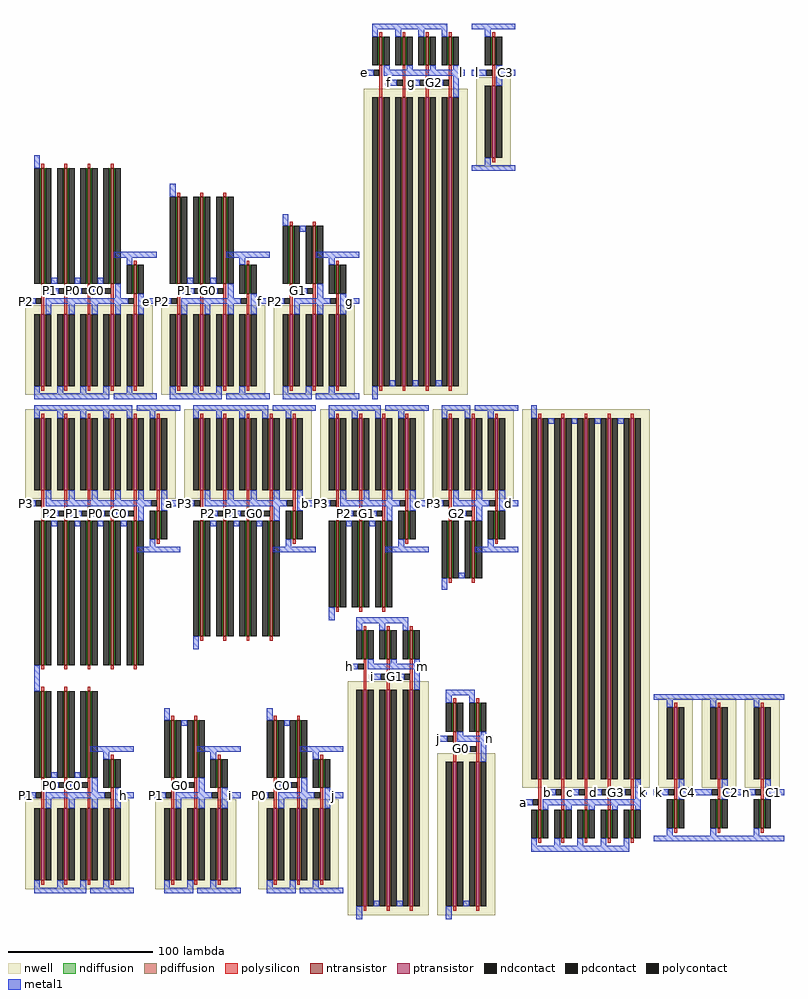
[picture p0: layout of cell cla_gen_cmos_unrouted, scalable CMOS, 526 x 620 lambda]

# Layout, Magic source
magic
tech scmos
<< metal1 >>
rect 233 416 237 420
rect 300 416 304 420
rect 311 416 315 420
rect 330 416 334 420
rect 249 409 253 413
rect 265 409 269 413
rect 281 409 285 413
rect 15 265 19 269
rect 31 265 35 269
rect 47 265 51 269
rect 109 265 113 269
rect 125 265 129 269
rect 187 265 191 269
rect -1 258 3 262
rect 66 258 67 262
rect 82 258 86 262
rect 93 258 97 262
rect 144 258 145 262
rect 160 258 164 262
rect 171 258 175 262
rect 206 258 207 262
rect 222 258 226 262
rect -1 118 3 122
rect 82 118 83 122
rect 98 118 102 122
rect 109 118 113 122
rect 176 118 177 122
rect 192 118 196 122
rect 203 118 207 122
rect 254 118 255 122
rect 270 118 274 122
rect 281 118 285 122
rect 316 118 317 122
rect 332 118 336 122
rect 15 111 19 115
rect 31 111 35 115
rect 47 111 51 115
rect 63 111 67 115
rect 125 111 129 115
rect 141 111 145 115
rect 157 111 161 115
rect 219 111 223 115
rect 235 111 239 115
rect 297 111 301 115
rect 222 5 226 9
rect 273 5 277 9
rect 238 -2 242 2
rect 254 -2 258 2
rect 284 -45 288 -41
rect 319 -45 323 -41
rect 300 -52 304 -48
rect 15 -77 19 -73
rect 31 -77 35 -73
rect 105 -77 109 -73
rect 176 -77 180 -73
rect -1 -84 3 -80
rect 50 -84 51 -80
rect 66 -84 70 -80
rect 89 -84 93 -80
rect 124 -84 125 -80
rect 140 -84 144 -80
rect 160 -84 164 -80
rect 195 -84 196 -80
rect 211 -84 215 -80
rect 359 -82 363 -78
rect 375 -82 379 -78
rect 391 -82 395 -78
rect 407 -82 411 -78
rect 426 -82 430 -78
rect 437 -82 441 -78
rect 456 -82 460 -78
rect 467 -82 471 -78
rect 486 -82 490 -78
rect 497 -82 501 -78
rect 516 -82 520 -78
rect 343 -89 347 -85
use inv_cmos  inv_cmos_7 ../../../inv/cmos/post_layout
transform 1 0 48 0 -1 -85
box 0 -37 24 65
use nand_3_cmos  nand_3_cmos_2 ../../../nand/cmos/post_layout
transform 1 0 6 0 -1 -91
box -6 -90 50 59
use nand_5_cmos  nand_5_cmos_0 ../../../nand/cmos/post_layout
transform 1 0 6 0 1 129
box -6 -130 82 59
use inv_cmos  inv_cmos_0
transform 1 0 80 0 1 123
box 0 -37 24 65
use inv_cmos  inv_cmos_8
transform 1 0 122 0 -1 -85
box 0 -37 24 65
use nand_cmos  nand_cmos_2 ../../../nand/cmos/post_layout
transform 1 0 96 0 -1 -91
box -6 -69 34 59
use nand_cmos  nand_cmos_3
transform 1 0 167 0 -1 -91
box -6 -69 34 59
use nand_4_cmos  nand_4_cmos_0 ../../../nand/cmos/post_layout
transform 1 0 116 0 1 129
box -6 -110 66 59
use inv_cmos  inv_cmos_1
transform 1 0 174 0 1 123
box 0 -37 24 65
use nor_3_cmos  nor_3_cmos_0 ../../../nor/cmos/post_layout
transform 1 0 229 0 -1 -9
box -6 -50 50 159
use inv_cmos  inv_cmos_9
transform 1 0 193 0 -1 -85
box 0 -37 24 65
use nand_3_cmos  nand_3_cmos_0
transform 1 0 210 0 1 129
box -6 -90 50 59
use inv_cmos  inv_cmos_2
transform 1 0 252 0 1 123
box 0 -37 24 65
use nor_cmos  nor_cmos_0 ../../../nor/cmos/post_layout
transform 1 0 291 0 -1 -59
box -6 -50 34 109
use nor_5_cmos  nor_5_cmos_0 ../../../nor/cmos/post_layout
transform 1 0 350 0 1 -71
box -6 -50 82 259
use inv_cmos  inv_cmos_3
transform 1 0 314 0 1 123
box 0 -37 24 65
use nand_cmos  nand_cmos_0
transform 1 0 288 0 1 129
box -6 -69 34 59
use inv_cmos  inv_cmos_10
transform 1 0 438 0 1 -77
box 0 -37 24 65
use inv_cmos  inv_cmos_13
transform 1 0 498 0 1 -77
box 0 -37 24 65
use inv_cmos  inv_cmos_12
transform 1 0 468 0 1 -77
box 0 -37 24 65
use inv_cmos  inv_cmos_4
transform 1 0 64 0 -1 257
box 0 -37 24 65
use nand_4_cmos  nand_4_cmos_1
transform 1 0 6 0 -1 251
box -6 -110 66 59
use nand_3_cmos  nand_3_cmos_1
transform 1 0 100 0 -1 251
box -6 -90 50 59
use nand_cmos  nand_cmos_1
transform 1 0 178 0 -1 251
box -6 -69 34 59
use inv_cmos  inv_cmos_5
transform 1 0 142 0 -1 257
box 0 -37 24 65
use inv_cmos  inv_cmos_6
transform 1 0 204 0 -1 257
box 0 -37 24 65
use nor_4_cmos  nor_4_cmos_0 ../../../nor/cmos/post_layout
transform 1 0 240 0 -1 401
box -6 -51 66 209
use inv_cmos  inv_cmos_11
transform 1 0 312 0 -1 415
box 0 -37 24 65
<< labels >>
rlabel metal1 -1 118 3 122 3 P3
rlabel metal1 15 111 19 115 1 P2
rlabel metal1 31 111 35 115 1 P1
rlabel metal1 47 111 51 115 1 P0
rlabel metal1 63 111 67 115 1 C0
rlabel metal1 98 118 102 122 1 a
rlabel metal1 109 118 113 122 1 P3
rlabel metal1 125 111 129 115 1 P2
rlabel metal1 141 111 145 115 1 P1
rlabel metal1 157 111 161 115 1 G0
rlabel metal1 192 118 196 122 1 b
rlabel metal1 203 118 207 122 1 P3
rlabel metal1 219 111 223 115 1 P2
rlabel metal1 235 111 239 115 1 G1
rlabel metal1 270 118 274 122 1 c
rlabel metal1 332 118 336 122 1 d
rlabel metal1 281 118 285 122 1 P3
rlabel metal1 -1 258 3 262 3 P2
rlabel metal1 15 265 19 269 1 P1
rlabel metal1 31 265 35 269 1 P0
rlabel metal1 47 265 51 269 1 C0
rlabel metal1 82 258 86 262 1 e
rlabel metal1 93 258 97 262 1 P2
rlabel metal1 109 265 113 269 1 P1
rlabel metal1 125 265 129 269 1 G0
rlabel metal1 160 258 164 262 1 f
rlabel metal1 222 258 226 262 1 g
rlabel metal1 171 258 175 262 1 P2
rlabel metal1 187 265 191 269 1 G1
rlabel metal1 66 -84 70 -80 1 h
rlabel metal1 -1 -84 3 -80 3 P1
rlabel metal1 15 -77 19 -73 1 P0
rlabel metal1 31 -77 35 -73 1 C0
rlabel metal1 89 -84 93 -80 1 P1
rlabel metal1 105 -77 109 -73 1 G0
rlabel metal1 160 -84 164 -80 1 P0
rlabel metal1 176 -77 180 -73 1 C0
rlabel metal1 140 -84 144 -80 1 i
rlabel metal1 211 -84 215 -80 1 j
rlabel metal1 233 416 237 420 1 e
rlabel metal1 249 409 253 413 1 f
rlabel metal1 265 409 269 413 1 g
rlabel metal1 281 409 285 413 1 G2
rlabel metal1 300 416 304 420 1 l
rlabel metal1 330 416 334 420 1 C3
rlabel metal1 343 -89 347 -85 1 a
rlabel metal1 359 -82 363 -78 1 b
rlabel metal1 375 -82 379 -78 1 c
rlabel metal1 391 -82 395 -78 1 d
rlabel metal1 407 -82 411 -78 1 G3
rlabel metal1 426 -82 430 -78 1 k
rlabel metal1 437 -82 441 -78 1 k
rlabel metal1 456 -82 460 -78 1 C4
rlabel metal1 222 5 226 9 1 h
rlabel metal1 238 -2 242 2 1 i
rlabel metal1 254 -2 258 2 1 G1
rlabel metal1 300 -52 304 -48 1 G0
rlabel metal1 284 -45 288 -41 1 j
rlabel metal1 319 -45 323 -41 1 n
rlabel metal1 273 5 277 9 1 m
rlabel metal1 467 -82 471 -78 1 m
rlabel metal1 486 -82 490 -78 1 C2
rlabel metal1 516 -82 520 -78 7 C1
rlabel metal1 497 -82 501 -78 1 n
rlabel metal1 311 416 315 420 1 l
rlabel metal1 297 111 301 115 1 G2
<< end >>

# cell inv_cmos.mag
magic
tech scmos
<< nwell >>
rect 0 0 24 62
<< ntransistor >>
rect 11 -28 13 -8
<< ptransistor >>
rect 11 6 13 56
<< ndiffusion >>
rect 10 -28 11 -8
rect 13 -28 14 -8
<< pdiffusion >>
rect 10 6 11 56
rect 13 6 14 56
<< ndcontact >>
rect 6 -28 10 -8
rect 14 -28 18 -8
<< pdcontact >>
rect 6 6 10 56
rect 14 6 18 56
<< polysilicon >>
rect 11 56 13 59
rect 11 -8 13 6
rect 11 -31 13 -28
<< polycontact >>
rect 7 -5 11 -1
<< metal1 >>
rect -3 61 27 65
rect 6 56 10 61
rect 14 -1 18 6
rect -3 -5 7 -1
rect 14 -5 27 -1
rect 14 -8 18 -5
rect 6 -33 10 -28
rect -3 -37 27 -33
<< labels >>
rlabel metal1 10 64 11 65 5 vdd
rlabel metal1 12 -36 13 -35 1 gnd
rlabel metal1 25 -4 26 -3 7 OUT
rlabel metal1 0 -3 1 -2 3 IN
<< end >>

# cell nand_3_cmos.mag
magic
tech scmos
<< nwell >>
rect -6 -6 50 56
<< ntransistor >>
rect 5 -81 7 -21
rect 21 -81 23 -21
rect 37 -81 39 -21
<< ptransistor >>
rect 5 0 7 50
rect 21 0 23 50
rect 37 0 39 50
<< ndiffusion >>
rect 4 -81 5 -21
rect 7 -81 8 -21
rect 20 -81 21 -21
rect 23 -81 24 -21
rect 36 -81 37 -21
rect 39 -81 40 -21
<< pdiffusion >>
rect 4 0 5 50
rect 7 0 8 50
rect 20 0 21 50
rect 23 0 24 50
rect 36 0 37 50
rect 39 0 40 50
<< ndcontact >>
rect 0 -81 4 -21
rect 8 -81 12 -21
rect 16 -81 20 -21
rect 24 -81 28 -21
rect 32 -81 36 -21
rect 40 -81 44 -21
<< pdcontact >>
rect 0 0 4 50
rect 8 0 12 50
rect 16 0 20 50
rect 24 0 28 50
rect 32 0 36 50
rect 40 0 44 50
<< polysilicon >>
rect 5 50 7 53
rect 21 50 23 53
rect 37 50 39 53
rect 5 -21 7 0
rect 21 -21 23 0
rect 37 -21 39 0
rect 5 -84 7 -81
rect 21 -84 23 -81
rect 37 -84 39 -81
<< polycontact >>
rect 1 -11 5 -7
rect 17 -18 21 -14
rect 33 -18 37 -14
<< metal1 >>
rect 0 55 36 59
rect 0 50 4 55
rect 16 50 20 55
rect 32 50 36 55
rect 8 -7 12 0
rect 24 -7 28 0
rect 40 -7 44 0
rect -3 -11 1 -7
rect 8 -11 44 -7
rect 13 -18 17 -14
rect 29 -18 33 -14
rect 40 -21 44 -11
rect 12 -25 16 -21
rect 28 -25 32 -21
rect 0 -90 4 -81
<< labels >>
rlabel metal1 10 55 14 59 5 vdd
rlabel metal1 -3 -11 1 -7 1 A
rlabel metal1 13 -18 17 -14 1 B
rlabel metal1 29 -18 33 -14 1 C
rlabel metal1 40 -11 44 -7 1 Y
rlabel metal1 0 -90 4 -86 1 gnd
<< end >>

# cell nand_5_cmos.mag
magic
tech scmos
<< nwell >>
rect -6 -6 82 56
<< ntransistor >>
rect 5 -121 7 -21
rect 21 -121 23 -21
rect 37 -121 39 -21
rect 53 -121 55 -21
rect 69 -121 71 -21
<< ptransistor >>
rect 5 0 7 50
rect 21 0 23 50
rect 37 0 39 50
rect 53 0 55 50
rect 69 0 71 50
<< ndiffusion >>
rect 4 -121 5 -21
rect 7 -121 8 -21
rect 20 -121 21 -21
rect 23 -121 24 -21
rect 36 -121 37 -21
rect 39 -121 40 -21
rect 52 -121 53 -21
rect 55 -121 56 -21
rect 68 -121 69 -21
rect 71 -121 72 -21
<< pdiffusion >>
rect 4 0 5 50
rect 7 0 8 50
rect 20 0 21 50
rect 23 0 24 50
rect 36 0 37 50
rect 39 0 40 50
rect 52 0 53 50
rect 55 0 56 50
rect 68 0 69 50
rect 71 0 72 50
<< ndcontact >>
rect 0 -121 4 -21
rect 8 -121 12 -21
rect 16 -121 20 -21
rect 24 -121 28 -21
rect 32 -121 36 -21
rect 40 -121 44 -21
rect 48 -121 52 -21
rect 56 -121 60 -21
rect 64 -121 68 -21
rect 72 -121 76 -21
<< pdcontact >>
rect 0 0 4 50
rect 8 0 12 50
rect 16 0 20 50
rect 24 0 28 50
rect 32 0 36 50
rect 40 0 44 50
rect 48 0 52 50
rect 56 0 60 50
rect 64 0 68 50
rect 72 0 76 50
<< polysilicon >>
rect 5 50 7 53
rect 21 50 23 53
rect 37 50 39 53
rect 53 50 55 53
rect 69 50 71 53
rect 5 -21 7 0
rect 21 -21 23 0
rect 37 -21 39 0
rect 53 -21 55 0
rect 69 -21 71 0
rect 5 -124 7 -121
rect 21 -124 23 -121
rect 37 -124 39 -121
rect 53 -124 55 -121
rect 69 -124 71 -121
<< polycontact >>
rect 1 -11 5 -7
rect 17 -18 21 -14
rect 33 -18 37 -14
rect 49 -18 53 -14
rect 65 -18 69 -14
<< metal1 >>
rect 0 55 68 59
rect 0 50 4 55
rect 16 50 20 55
rect 32 50 36 55
rect 48 50 52 55
rect 64 50 68 55
rect 8 -7 12 0
rect 24 -7 28 0
rect 40 -7 44 0
rect 56 -7 60 0
rect 72 -7 76 0
rect -3 -11 1 -7
rect 8 -11 76 -7
rect 13 -18 17 -14
rect 29 -18 33 -14
rect 45 -18 49 -14
rect 61 -18 65 -14
rect 72 -21 76 -11
rect 12 -25 16 -21
rect 28 -25 32 -21
rect 44 -25 48 -21
rect 60 -25 64 -21
rect 0 -130 4 -121
<< labels >>
rlabel metal1 10 55 14 59 5 vdd
rlabel metal1 -3 -11 1 -7 1 A
rlabel metal1 61 -18 65 -14 1 E
rlabel metal1 45 -18 49 -14 1 D
rlabel metal1 13 -18 17 -14 1 B
rlabel metal1 29 -18 33 -14 1 C
rlabel metal1 72 -11 76 -7 1 Y
rlabel metal1 0 -130 4 -126 1 gnd
<< end >>

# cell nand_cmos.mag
magic
tech scmos
<< nwell >>
rect -6 -6 35 56
<< ntransistor >>
rect 5 -61 7 -21
rect 21 -61 23 -21
<< ptransistor >>
rect 5 0 7 50
rect 21 0 23 50
<< ndiffusion >>
rect 4 -61 5 -21
rect 7 -61 8 -21
rect 20 -61 21 -21
rect 23 -61 24 -21
<< pdiffusion >>
rect 4 0 5 50
rect 7 0 8 50
rect 20 0 21 50
rect 23 0 24 50
<< ndcontact >>
rect 0 -61 4 -21
rect 8 -61 12 -21
rect 16 -61 20 -21
rect 24 -61 28 -21
<< pdcontact >>
rect 0 0 4 50
rect 8 0 12 50
rect 16 0 20 50
rect 24 0 28 50
<< polysilicon >>
rect 5 50 7 53
rect 21 50 23 53
rect 5 -21 7 0
rect 21 -21 23 0
rect 5 -64 7 -61
rect 21 -64 23 -61
<< polycontact >>
rect 1 -11 5 -7
rect 17 -18 21 -14
<< metal1 >>
rect 0 55 20 59
rect 0 50 4 55
rect 16 50 20 55
rect 8 -7 12 0
rect 24 -7 28 0
rect -3 -11 1 -7
rect 8 -11 28 -7
rect 13 -18 17 -14
rect 24 -21 28 -11
rect 12 -61 16 -57
rect 0 -69 4 -61
<< labels >>
rlabel metal1 10 55 14 59 5 vdd
rlabel metal1 -3 -11 1 -7 1 A
rlabel metal1 0 -69 4 -65 1 gnd
rlabel metal1 24 -11 28 -7 1 Y
rlabel metal1 13 -18 17 -14 1 B
<< end >>

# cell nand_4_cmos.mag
magic
tech scmos
<< nwell >>
rect -6 -6 66 56
<< ntransistor >>
rect 5 -101 7 -21
rect 21 -101 23 -21
rect 37 -101 39 -21
rect 53 -101 55 -21
<< ptransistor >>
rect 5 0 7 50
rect 21 0 23 50
rect 37 0 39 50
rect 53 0 55 50
<< ndiffusion >>
rect 4 -101 5 -21
rect 7 -101 8 -21
rect 20 -101 21 -21
rect 23 -101 24 -21
rect 36 -101 37 -21
rect 39 -101 40 -21
rect 52 -101 53 -21
rect 55 -101 56 -21
<< pdiffusion >>
rect 4 0 5 50
rect 7 0 8 50
rect 20 0 21 50
rect 23 0 24 50
rect 36 0 37 50
rect 39 0 40 50
rect 52 0 53 50
rect 55 0 56 50
<< ndcontact >>
rect 0 -101 4 -21
rect 8 -101 12 -21
rect 16 -101 20 -21
rect 24 -101 28 -21
rect 32 -101 36 -21
rect 40 -101 44 -21
rect 48 -101 52 -21
rect 56 -101 60 -21
<< pdcontact >>
rect 0 0 4 50
rect 8 0 12 50
rect 16 0 20 50
rect 24 0 28 50
rect 32 0 36 50
rect 40 0 44 50
rect 48 0 52 50
rect 56 0 60 50
<< polysilicon >>
rect 5 50 7 53
rect 21 50 23 53
rect 37 50 39 53
rect 53 50 55 53
rect 5 -21 7 0
rect 21 -21 23 0
rect 37 -21 39 0
rect 53 -21 55 0
rect 5 -104 7 -101
rect 21 -104 23 -101
rect 37 -104 39 -101
rect 53 -104 55 -101
<< polycontact >>
rect 1 -11 5 -7
rect 17 -18 21 -14
rect 33 -18 37 -14
rect 49 -18 53 -14
<< metal1 >>
rect 0 55 52 59
rect 0 50 4 55
rect 16 50 20 55
rect 32 50 36 55
rect 48 50 52 55
rect 8 -7 12 0
rect 24 -7 28 0
rect 40 -7 44 0
rect 56 -7 60 0
rect -3 -11 1 -7
rect 8 -11 60 -7
rect 13 -18 17 -14
rect 29 -18 33 -14
rect 45 -18 49 -14
rect 56 -21 60 -11
rect 12 -25 16 -21
rect 28 -25 32 -21
rect 44 -25 48 -21
rect 0 -110 4 -101
<< labels >>
rlabel metal1 10 55 14 59 5 vdd
rlabel metal1 -3 -11 1 -7 1 A
rlabel metal1 13 -18 17 -14 1 B
rlabel metal1 29 -18 33 -14 1 C
rlabel metal1 45 -18 49 -14 1 D
rlabel metal1 0 -110 4 -106 1 gnd
rlabel metal1 56 -11 60 -7 1 Y
<< end >>

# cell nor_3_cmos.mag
magic
tech scmos
<< nwell >>
rect -6 -6 50 156
<< ntransistor >>
rect 5 -41 7 -21
rect 21 -41 23 -21
rect 37 -41 39 -21
<< ptransistor >>
rect 5 0 7 150
rect 21 0 23 150
rect 37 0 39 150
<< ndiffusion >>
rect 4 -41 5 -21
rect 7 -41 8 -21
rect 20 -41 21 -21
rect 23 -41 24 -21
rect 36 -41 37 -21
rect 39 -41 40 -21
<< pdiffusion >>
rect 4 0 5 150
rect 7 0 8 150
rect 20 0 21 150
rect 23 0 24 150
rect 36 0 37 150
rect 39 0 40 150
<< ndcontact >>
rect 0 -41 4 -21
rect 8 -41 12 -21
rect 16 -41 20 -21
rect 24 -41 28 -21
rect 32 -41 36 -21
rect 40 -41 44 -21
<< pdcontact >>
rect 0 0 4 150
rect 8 0 12 150
rect 16 0 20 150
rect 24 0 28 150
rect 32 0 36 150
rect 40 0 44 150
<< polysilicon >>
rect 5 150 7 153
rect 21 150 23 153
rect 37 150 39 153
rect 5 -21 7 0
rect 21 -21 23 0
rect 37 -21 39 0
rect 5 -44 7 -41
rect 21 -44 23 -41
rect 37 -44 39 -41
<< polycontact >>
rect 1 -18 5 -14
rect 17 -11 21 -7
rect 33 -11 37 -7
<< metal1 >>
rect 0 150 4 159
rect 12 146 16 150
rect 28 146 32 150
rect 13 -11 17 -7
rect 29 -11 33 -7
rect 40 -14 44 0
rect -3 -18 1 -14
rect 8 -18 44 -14
rect 8 -21 12 -18
rect 24 -21 28 -18
rect 40 -21 44 -18
rect 0 -46 4 -41
rect 16 -46 20 -41
rect 32 -46 36 -41
rect 0 -50 36 -46
<< labels >>
rlabel metal1 10 -50 14 -46 1 gnd
rlabel metal1 -3 -18 1 -14 3 A
rlabel metal1 13 -11 17 -7 1 B
rlabel metal1 29 -11 33 -7 1 C
rlabel metal1 40 -18 44 -14 1 Y
rlabel metal1 0 155 4 159 5 vdd
<< end >>

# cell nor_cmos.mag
magic
tech scmos
<< nwell >>
rect -6 -6 34 106
<< ntransistor >>
rect 5 -41 7 -21
rect 21 -41 23 -21
<< ptransistor >>
rect 5 0 7 100
rect 21 0 23 100
<< ndiffusion >>
rect 4 -41 5 -21
rect 7 -41 8 -21
rect 20 -41 21 -21
rect 23 -41 24 -21
<< pdiffusion >>
rect 4 0 5 100
rect 7 0 8 100
rect 20 0 21 100
rect 23 0 24 100
<< ndcontact >>
rect 0 -41 4 -21
rect 8 -41 12 -21
rect 16 -41 20 -21
rect 24 -41 28 -21
<< pdcontact >>
rect 0 0 4 100
rect 8 0 12 100
rect 16 0 20 100
rect 24 0 28 100
<< polysilicon >>
rect 5 100 7 103
rect 21 100 23 103
rect 5 -21 7 0
rect 21 -21 23 0
rect 5 -44 7 -41
rect 21 -44 23 -41
<< polycontact >>
rect 1 -18 5 -14
rect 17 -11 21 -7
<< metal1 >>
rect 0 100 4 109
rect 12 96 16 100
rect 13 -11 17 -7
rect 24 -14 28 0
rect -3 -18 1 -14
rect 8 -18 28 -14
rect 8 -21 12 -18
rect 24 -21 28 -18
rect 0 -46 4 -41
rect 16 -46 20 -41
rect 0 -50 20 -46
<< labels >>
rlabel metal1 10 -50 14 -46 1 gnd
rlabel metal1 24 -11 28 -7 1 Y
rlabel metal1 -3 -18 1 -14 1 A
rlabel metal1 13 -11 17 -7 1 B
rlabel metal1 0 105 4 109 5 vdd
<< end >>

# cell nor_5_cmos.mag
magic
tech scmos
<< nwell >>
rect -6 -6 82 256
<< ntransistor >>
rect 5 -41 7 -21
rect 21 -41 23 -21
rect 37 -41 39 -21
rect 53 -41 55 -21
rect 69 -41 71 -21
<< ptransistor >>
rect 5 0 7 250
rect 21 0 23 250
rect 37 0 39 250
rect 53 0 55 250
rect 69 0 71 250
<< ndiffusion >>
rect 4 -41 5 -21
rect 7 -41 8 -21
rect 20 -41 21 -21
rect 23 -41 24 -21
rect 36 -41 37 -21
rect 39 -41 40 -21
rect 52 -41 53 -21
rect 55 -41 56 -21
rect 68 -41 69 -21
rect 71 -41 72 -21
<< pdiffusion >>
rect 4 0 5 250
rect 7 0 8 250
rect 20 0 21 250
rect 23 0 24 250
rect 36 0 37 250
rect 39 0 40 250
rect 52 0 53 250
rect 55 0 56 250
rect 68 0 69 250
rect 71 0 72 250
<< ndcontact >>
rect 0 -41 4 -21
rect 8 -41 12 -21
rect 16 -41 20 -21
rect 24 -41 28 -21
rect 32 -41 36 -21
rect 40 -41 44 -21
rect 48 -41 52 -21
rect 56 -41 60 -21
rect 64 -41 68 -21
rect 72 -41 76 -21
<< pdcontact >>
rect 0 0 4 250
rect 8 0 12 250
rect 16 0 20 250
rect 24 0 28 250
rect 32 0 36 250
rect 40 0 44 250
rect 48 0 52 250
rect 56 0 60 250
rect 64 0 68 250
rect 72 0 76 250
<< polysilicon >>
rect 5 250 7 253
rect 21 250 23 253
rect 37 250 39 253
rect 53 250 55 253
rect 69 250 71 253
rect 5 -21 7 0
rect 21 -21 23 0
rect 37 -21 39 0
rect 53 -21 55 0
rect 69 -21 71 0
rect 5 -44 7 -41
rect 21 -44 23 -41
rect 37 -44 39 -41
rect 53 -44 55 -41
rect 69 -44 71 -41
<< polycontact >>
rect 1 -18 5 -14
rect 17 -11 21 -7
rect 33 -11 37 -7
rect 49 -11 53 -7
rect 65 -11 69 -7
<< metal1 >>
rect 0 250 4 259
rect 12 246 16 250
rect 28 246 32 250
rect 44 246 48 250
rect 60 246 64 250
rect 13 -11 17 -7
rect 29 -11 33 -7
rect 45 -11 49 -7
rect 61 -11 65 -7
rect 72 -14 76 0
rect -3 -18 1 -14
rect 8 -18 76 -14
rect 8 -21 12 -18
rect 24 -21 28 -18
rect 40 -21 44 -18
rect 56 -21 60 -18
rect 72 -21 76 -18
rect 0 -46 4 -41
rect 16 -46 20 -41
rect 32 -46 36 -41
rect 48 -46 52 -41
rect 64 -46 68 -41
rect 0 -50 68 -46
<< labels >>
rlabel metal1 61 -11 65 -7 1 E
rlabel metal1 45 -11 49 -7 1 D
rlabel metal1 29 -11 33 -7 1 C
rlabel metal1 13 -11 17 -7 1 B
rlabel metal1 10 -50 14 -46 1 gnd
rlabel metal1 -3 -18 1 -14 1 A
rlabel metal1 72 -11 76 -7 1 Y
rlabel metal1 0 255 4 259 5 vdd
<< end >>

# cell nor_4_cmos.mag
magic
tech scmos
<< nwell >>
rect -6 -6 66 206
<< ntransistor >>
rect 5 -42 7 -22
rect 21 -42 23 -22
rect 37 -42 39 -22
rect 53 -42 55 -22
<< ptransistor >>
rect 5 0 7 200
rect 21 0 23 200
rect 37 0 39 200
rect 53 0 55 200
<< ndiffusion >>
rect 4 -42 5 -22
rect 7 -42 8 -22
rect 20 -42 21 -22
rect 23 -42 24 -22
rect 36 -42 37 -22
rect 39 -42 40 -22
rect 52 -42 53 -22
rect 55 -42 56 -22
<< pdiffusion >>
rect 4 0 5 200
rect 7 0 8 200
rect 20 0 21 200
rect 23 0 24 200
rect 36 0 37 200
rect 39 0 40 200
rect 52 0 53 200
rect 55 0 56 200
<< ndcontact >>
rect 0 -42 4 -22
rect 8 -42 12 -22
rect 16 -42 20 -22
rect 24 -42 28 -22
rect 32 -42 36 -22
rect 40 -42 44 -22
rect 48 -42 52 -22
rect 56 -42 60 -22
<< pdcontact >>
rect 0 0 4 200
rect 8 0 12 200
rect 16 0 20 200
rect 24 0 28 200
rect 32 0 36 200
rect 40 0 44 200
rect 48 0 52 200
rect 56 0 60 200
<< polysilicon >>
rect 5 200 7 203
rect 21 200 23 203
rect 37 200 39 203
rect 53 200 55 203
rect 5 -22 7 0
rect 21 -22 23 0
rect 37 -22 39 0
rect 53 -22 55 0
rect 5 -45 7 -42
rect 21 -45 23 -42
rect 37 -45 39 -42
rect 53 -45 55 -42
<< polycontact >>
rect 1 -19 5 -15
rect 17 -12 21 -8
rect 33 -12 37 -8
rect 49 -12 53 -8
<< metal1 >>
rect 0 200 4 209
rect 12 196 16 200
rect 28 196 32 200
rect 44 196 48 200
rect 13 -12 17 -8
rect 29 -12 33 -8
rect 45 -12 49 -8
rect 56 -15 60 0
rect -3 -19 1 -15
rect 8 -19 60 -15
rect 8 -22 12 -19
rect 24 -22 28 -19
rect 40 -22 44 -19
rect 56 -22 60 -19
rect 0 -47 4 -42
rect 16 -47 20 -42
rect 32 -47 36 -42
rect 48 -47 52 -42
rect 0 -51 52 -47
<< labels >>
rlabel metal1 10 -51 14 -47 1 gnd
rlabel metal1 56 -12 60 -8 1 Y
rlabel metal1 -3 -19 1 -15 3 A
rlabel metal1 13 -12 17 -8 1 B
rlabel metal1 29 -12 33 -8 1 C
rlabel metal1 45 -12 49 -8 1 D
rlabel metal1 0 205 4 209 5 vdd
<< end >>
